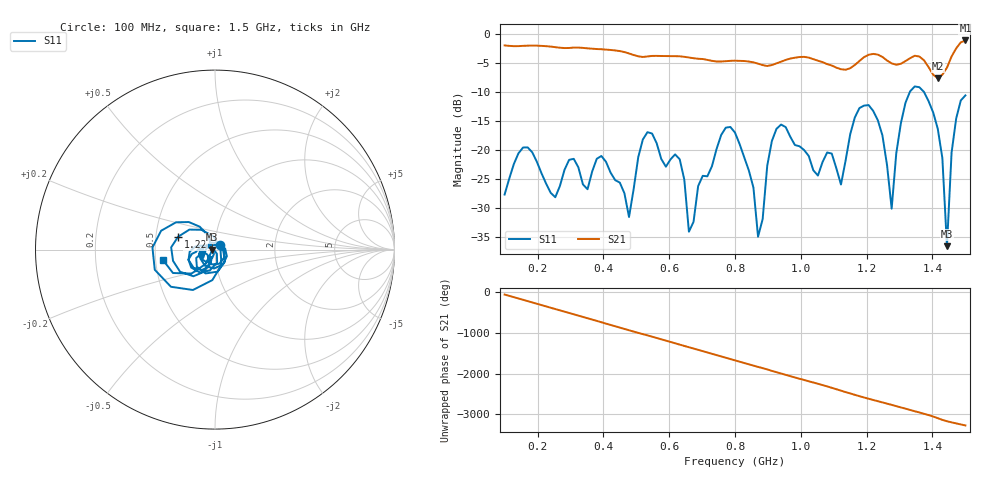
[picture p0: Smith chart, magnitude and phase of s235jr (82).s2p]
! NanoVNA-App
! Date: 2025-09-26 09:45:25
! Start: 100MHz Stop: 1,5GHz Points: 101
! S-Parameter data: F S11 S21 S12 S22
# Hz S RI R 50
!  Frequency  S11_Real  S11_Imag  S21_Real  S21_Imag  S12_Real  S12_Imag  S22_Real  S22_Imag
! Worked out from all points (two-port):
!   101 points, 100 MHz to 1.5 GHz, reference 50 ohm
!   highest |S21| = -1.09 dB at 1.5 GHz (marker M1); lowest = -7.6 dB at 1.416 GHz (marker M2)
!   |S21| within 3 dB of the highest: start of sweep to 667.2 MHz; 1.189 GHz to 1.252 GHz (62.06 MHz wide, 5.09 % of centre)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
!   lowest |S11| = -36.5 dB at 1.444 GHz (marker M3), VSWR 1.03, Z = 48.5 - j0.0799 ohm
!   |S11| at or under -10 dB: start of sweep to 1.331 GHz; 1.374 GHz to end of sweep
!   S12 and S22 are empty: the file has one direction only
!   S11 on the Smith chart (normalised r, x): 100 MHz: 1.06, +0.06; 1.22 GHz: 0.65, +0.10; 1.5 GHz: 0.55, -0.07
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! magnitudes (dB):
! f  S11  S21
! 100 MHz  -27.6  -2.0
! 156 MHz  -19.5  -2.0
! 338 MHz  -25.9  -2.4
! 394 MHz  -21.0  -2.6
! 478 MHz  -31.5  -3.3
! 520 MHz  -18.2  -3.9
! 576 MHz  -21.5  -3.8
! 632 MHz  -21.6  -3.8
! 660 MHz  -34.1  -4.0
! 800 MHz  -17.0  -4.6
! 870 MHz  -34.9  -5.1
! 926 MHz  -16.3  -5.0
! 1.038 GHz  -23.5  -4.3
! 1.122 GHz  -25.9  -6.1
! 1.164 GHz  -14.4  -5.3
! 1.22 GHz  -13.2  -3.4
! 1.276 GHz  -30.1  -5.0
! 1.332 GHz  -9.9  -4.1
! 1.416 GHz  -16.3  -7.6
! 1.444 GHz  -36.5  -5.8
! 1.458 GHz  -20.4  -3.9
! 1.5 GHz  -10.6  -1.1
